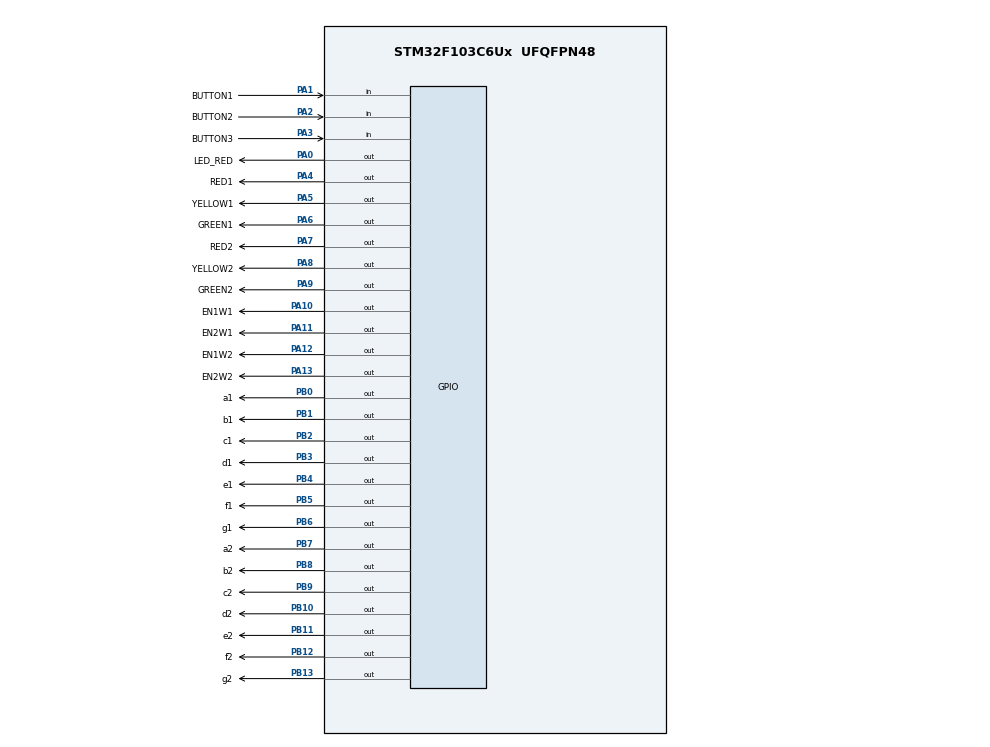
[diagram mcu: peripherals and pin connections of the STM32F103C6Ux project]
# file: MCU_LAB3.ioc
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Mcu.Family=STM32F1
Mcu.Name=STM32F103C6Ux
Mcu.Package=UFQFPN48
NVIC.PriorityGroup=NVIC_PRIORITYGROUP_4
NVIC.TIM2_IRQn=true\:0\:0\:false\:false\:true\:true\:true
PA0-WKUP.GPIO_Label=LED_RED
PA0-WKUP.Signal=GPIO_Output
PA1.GPIO_Label=BUTTON1
PA1.GPIO_PuPd=GPIO_PULLUP
PA1.Signal=GPIO_Input
PA10.GPIO_Label=EN1W1
PA10.Signal=GPIO_Output
PA11.GPIO_Label=EN2W1
PA11.Signal=GPIO_Output
PA12.GPIO_Label=EN1W2
PA12.Signal=GPIO_Output
PA13.GPIO_Label=EN2W2
PA13.Signal=GPIO_Output
PA2.GPIO_Label=BUTTON2
PA2.GPIO_PuPd=GPIO_PULLUP
PA2.Signal=GPIO_Input
PA3.GPIO_Label=BUTTON3
PA3.GPIO_PuPd=GPIO_PULLUP
PA3.Signal=GPIO_Input
PA4.GPIO_Label=RED1
PA4.Signal=GPIO_Output
PA5.GPIO_Label=YELLOW1
PA5.Signal=GPIO_Output
PA6.GPIO_Label=GREEN1
PA6.Signal=GPIO_Output
PA7.GPIO_Label=RED2
PA7.Signal=GPIO_Output
PA8.GPIO_Label=YELLOW2
PA8.Signal=GPIO_Output
PA9.GPIO_Label=GREEN2
PA9.Signal=GPIO_Output
PB0.GPIO_Label=a1
PB0.Signal=GPIO_Output
PB1.GPIO_Label=b1
PB1.Signal=GPIO_Output
PB10.GPIO_Label=d2
PB10.Signal=GPIO_Output
PB11.GPIO_Label=e2
PB11.Signal=GPIO_Output
PB12.GPIO_Label=f2
PB12.Signal=GPIO_Output
PB13.GPIO_Label=g2
PB13.Signal=GPIO_Output
PB2.GPIO_Label=c1
PB2.Signal=GPIO_Output
PB3.GPIO_Label=d1
PB3.Signal=GPIO_Output
PB4.GPIO_Label=e1
PB4.Signal=GPIO_Output
PB5.GPIO_Label=f1
PB5.Signal=GPIO_Output
PB6.GPIO_Label=g1
PB6.Signal=GPIO_Output
PB7.GPIO_Label=a2
PB7.Signal=GPIO_Output
PB8.GPIO_Label=b2
PB8.Signal=GPIO_Output
PB9.GPIO_Label=c2
PB9.Signal=GPIO_Output
ProjectManager.HeapSize=0x200
ProjectManager.StackSize=0x400
ProjectManager.TargetToolchain=STM32CubeIDE
RCC.APB1Freq_Value=8000000
RCC.APB2Freq_Value=8000000
TIM2.Period=9
TIM2.Prescaler=7999
VP_SYS_VS_ND.Mode=No_Debug
VP_TIM2_VS_ClockSourceINT.Mode=Internal
board=custom

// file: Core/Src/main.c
/* USER CODE BEGIN Header */
/**
  ******************************************************************************
  * @file           : main.c
  * @brief          : Main program body
  ******************************************************************************
  * @attention
  *
  * <h2><center>&copy; Copyright (c) 2025 STMicroelectronics.
  * All rights reserved.</center></h2>
  *
  * This software component is licensed by ST under BSD 3-Clause license,
  * the "License"; You may not use this file except in compliance with the
  * License. You may obtain a copy of the License at:
  *                        opensource.org/licenses/BSD-3-Clause
  *
  ******************************************************************************
  */
/* USER CODE END Header */
#include "main.h"

TIM_HandleTypeDef htim2;

void SystemClock_Config(void);
static void MX_GPIO_Init(void);
static void MX_TIM2_Init(void);

int main(void)
{

  /* MCU Configuration--------------------------------------------------------*/

  /* Reset of all peripherals, Initializes the Flash interface and the Systick. */
  HAL_Init();

  /* Configure the system clock */
  SystemClock_Config();

  /* Initialize all configured peripherals */
  MX_GPIO_Init();
  MX_TIM2_Init();
  /* USER CODE BEGIN 2 */
  HAL_TIM_Base_Start_IT(&htim2);
  /* USER CODE END 2 */

  /* Infinite loop */
  /* USER CODE BEGIN WHILE */
  timerSet(seg_timer, seg_dur);		//timer for 7SEG scanning display
  timerSet(blink_timer, blink_dur);		//timer for toggle led in modify modes
  buttonsInit(GPIOA, BUTTON1_Pin);		//initialize button
  buttonsInit(GPIOA, BUTTON2_Pin);
  buttonsInit(GPIOA, BUTTON3_Pin);
  HAL_GPIO_WritePin(GPIOA, EN1W1_Pin, GPIO_PIN_SET);
  HAL_GPIO_WritePin(GPIOA, EN2W1_Pin, GPIO_PIN_SET);
  HAL_GPIO_WritePin(GPIOA, EN1W2_Pin, GPIO_PIN_SET);
  HAL_GPIO_WritePin(GPIOA, EN2W2_Pin, GPIO_PIN_SET);
  displayNone();
  while (1)
  {
	  buttonsFSM1(0);
	  buttonsFSM2(1);
	  buttonsFSM3(2);
	  if (buttonIsPressed(0) || buttonIsPressed(1) || buttonIsPressed(2)){
		 HAL_GPIO_TogglePin(GPIOA, LED_RED_Pin);
	  }
	  if (buttonIsHold(0) || buttonIsHold(1) || buttonIsHold(2)){
		  HAL_GPIO_TogglePin(GPIOA, LED_RED_Pin);
	  }
	  lab3_fsm();

    /* USER CODE END WHILE */

  }
}

void SystemClock_Config(void)
{
  RCC_OscInitTypeDef RCC_OscInitStruct = {0};
  RCC_ClkInitTypeDef RCC_ClkInitStruct = {0};

  /** Initializes the RCC Oscillators according to the specified parameters
  * in the RCC_OscInitTypeDef structure.
  */
  RCC_OscInitStruct.OscillatorType = RCC_OSCILLATORTYPE_HSI;
  RCC_OscInitStruct.HSIState = RCC_HSI_ON;
  RCC_OscInitStruct.HSICalibrationValue = RCC_HSICALIBRATION_DEFAULT;
  RCC_OscInitStruct.PLL.PLLState = RCC_PLL_NONE;
  if (HAL_RCC_OscConfig(&RCC_OscInitStruct) != HAL_OK)
  {
    Error_Handler();
  }
  /** Initializes the CPU, AHB and APB buses clocks
  */
  RCC_ClkInitStruct.ClockType = RCC_CLOCKTYPE_HCLK|RCC_CLOCKTYPE_SYSCLK
                              |RCC_CLOCKTYPE_PCLK1|RCC_CLOCKTYPE_PCLK2;
  RCC_ClkInitStruct.SYSCLKSource = RCC_SYSCLKSOURCE_HSI;
  RCC_ClkInitStruct.AHBCLKDivider = RCC_SYSCLK_DIV1;
  RCC_ClkInitStruct.APB1CLKDivider = RCC_HCLK_DIV1;
  RCC_ClkInitStruct.APB2CLKDivider = RCC_HCLK_DIV1;

  if (HAL_RCC_ClockConfig(&RCC_ClkInitStruct, FLASH_LATENCY_0) != HAL_OK)
  {
    Error_Handler();
  }
}

static void MX_TIM2_Init(void)
{

  TIM_ClockConfigTypeDef sClockSourceConfig = {0};
  TIM_MasterConfigTypeDef sMasterConfig = {0};

  htim2.Instance = TIM2;
  htim2.Init.Prescaler = 7999;
  htim2.Init.CounterMode = TIM_COUNTERMODE_UP;
  htim2.Init.Period = 9;
  htim2.Init.ClockDivision = TIM_CLOCKDIVISION_DIV1;
  htim2.Init.AutoReloadPreload = TIM_AUTORELOAD_PRELOAD_DISABLE;
  if (HAL_TIM_Base_Init(&htim2) != HAL_OK)
  {
    Error_Handler();
  }
  sClockSourceConfig.ClockSource = TIM_CLOCKSOURCE_INTERNAL;
  if (HAL_TIM_ConfigClockSource(&htim2, &sClockSourceConfig) != HAL_OK)
  {
    Error_Handler();
  }
  sMasterConfig.MasterOutputTrigger = TIM_TRGO_RESET;
  sMasterConfig.MasterSlaveMode = TIM_MASTERSLAVEMODE_DISABLE;
  if (HAL_TIMEx_MasterConfigSynchronization(&htim2, &sMasterConfig) != HAL_OK)
  {
    Error_Handler();
  }

}

static void MX_GPIO_Init(void)
{
  GPIO_InitTypeDef GPIO_InitStruct = {0};

  /* GPIO Ports Clock Enable */
  __HAL_RCC_GPIOA_CLK_ENABLE();
  __HAL_RCC_GPIOB_CLK_ENABLE();

  /*Configure GPIO pin Output Level */
  HAL_GPIO_WritePin(GPIOA, LED_RED_Pin|RED1_Pin|YELLOW1_Pin|GREEN1_Pin
                          |RED2_Pin|YELLOW2_Pin|GREEN2_Pin|EN1W1_Pin
                          |EN2W1_Pin|EN1W2_Pin|EN2W2_Pin, GPIO_PIN_RESET);

  /*Configure GPIO pin Output Level */
  HAL_GPIO_WritePin(GPIOB, a1_Pin|b1_Pin|c1_Pin|d2_Pin
                          |e2_Pin|f2_Pin|g2_Pin|d1_Pin
                          |e1_Pin|f1_Pin|g1_Pin|a2_Pin
                          |b2_Pin|c2_Pin, GPIO_PIN_RESET);

  /*Configure GPIO pins : LED_RED_Pin RED1_Pin YELLOW1_Pin GREEN1_Pin
                           RED2_Pin YELLOW2_Pin GREEN2_Pin EN1W1_Pin
                           EN2W1_Pin EN1W2_Pin EN2W2_Pin */
  GPIO_InitStruct.Pin = LED_RED_Pin|RED1_Pin|YELLOW1_Pin|GREEN1_Pin
                          |RED2_Pin|YELLOW2_Pin|GREEN2_Pin|EN1W1_Pin
                          |EN2W1_Pin|EN1W2_Pin|EN2W2_Pin;
  GPIO_InitStruct.Mode = GPIO_MODE_OUTPUT_PP;
  GPIO_InitStruct.Pull = GPIO_NOPULL;
  GPIO_InitStruct.Speed = GPIO_SPEED_FREQ_LOW;
  HAL_GPIO_Init(GPIOA, &GPIO_InitStruct);

  /*Configure GPIO pins : BUTTON1_Pin BUTTON2_Pin BUTTON3_Pin */
  GPIO_InitStruct.Pin = BUTTON1_Pin|BUTTON2_Pin|BUTTON3_Pin;
  GPIO_InitStruct.Mode = GPIO_MODE_INPUT;
  GPIO_InitStruct.Pull = GPIO_PULLUP;
  HAL_GPIO_Init(GPIOA, &GPIO_InitStruct);

  /*Configure GPIO pins : a1_Pin b1_Pin c1_Pin d2_Pin
                           e2_Pin f2_Pin g2_Pin d1_Pin
                           e1_Pin f1_Pin g1_Pin a2_Pin
                           b2_Pin c2_Pin */
  GPIO_InitStruct.Pin = a1_Pin|b1_Pin|c1_Pin|d2_Pin
                          |e2_Pin|f2_Pin|g2_Pin|d1_Pin
                          |e1_Pin|f1_Pin|g1_Pin|a2_Pin
                          |b2_Pin|c2_Pin;
  GPIO_InitStruct.Mode = GPIO_MODE_OUTPUT_PP;
  GPIO_InitStruct.Pull = GPIO_NOPULL;
  GPIO_InitStruct.Speed = GPIO_SPEED_FREQ_LOW;
  HAL_GPIO_Init(GPIOB, &GPIO_InitStruct);

}

/* USER CODE BEGIN 4 */
void HAL_TIM_PeriodElapsedCallback(TIM_HandleTypeDef *htim){
	timerRun();
	//getKeyInput();
}
/* USER CODE END 4 */

void Error_Handler(void)
{
  __disable_irq();
  while (1)
  {
  }
}

/************************ (C) COPYRIGHT STMicroelectronics *****END OF FILE****/
